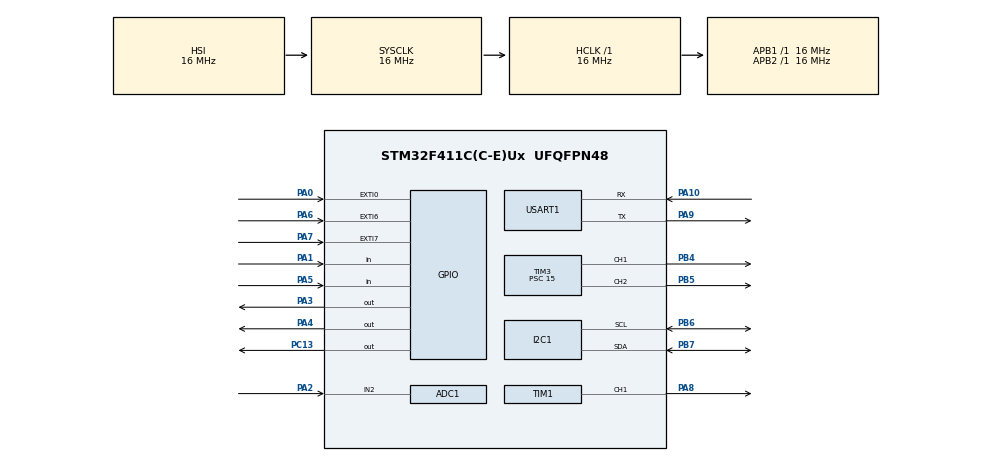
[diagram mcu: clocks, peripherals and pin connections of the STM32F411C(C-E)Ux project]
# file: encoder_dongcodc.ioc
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ADC1.Channel-0\#ChannelRegularConversion=ADC_CHANNEL_2
ADC1.NbrOfConversionFlag=1
ADC1.Rank-0\#ChannelRegularConversion=1
ADC1.SamplingTime-0\#ChannelRegularConversion=ADC_SAMPLETIME_3CYCLES
ADC1.master=1
Mcu.Family=STM32F4
Mcu.Name=STM32F411C(C-E)Ux
Mcu.Package=UFQFPN48
NVIC.EXTI0_IRQn=true\:1\:0\:true\:false\:true\:true\:true\:true
NVIC.EXTI9_5_IRQn=true\:1\:0\:true\:false\:true\:true\:true\:true
NVIC.PriorityGroup=NVIC_PRIORITYGROUP_2
NVIC.TIM2_IRQn=true\:1\:0\:true\:false\:true\:true\:true\:true
NVIC.USART1_IRQn=true\:1\:0\:true\:false\:true\:true\:true\:true
PA0-WKUP.GPIO_ModeDefaultEXTI=GPIO_MODE_IT_RISING
PA0-WKUP.GPIO_PuPd=GPIO_PULLUP
PA0-WKUP.Signal=GPXTI0
PA1.Signal=GPIO_Input
PA10.Mode=Asynchronous
PA10.Signal=USART1_RX
PA13.Mode=Serial_Wire
PA13.Signal=SYS_JTMS-SWDIO
PA14.Mode=Serial_Wire
PA14.Signal=SYS_JTCK-SWCLK
PA2.Signal=ADCx_IN2
PA3.Signal=GPIO_Output
PA4.Signal=GPIO_Output
PA5.GPIO_PuPd=GPIO_NOPULL
PA5.Signal=GPIO_Input
PA6.GPIO_ModeDefaultEXTI=GPIO_MODE_IT_FALLING
PA6.GPIO_PuPd=GPIO_PULLUP
PA6.Signal=GPXTI6
PA7.GPIO_ModeDefaultEXTI=GPIO_MODE_IT_FALLING
PA7.GPIO_PuPd=GPIO_PULLUP
PA7.Signal=GPXTI7
PA8.Signal=S_TIM1_CH1
PA9.Mode=Asynchronous
PA9.Signal=USART1_TX
PB4.Signal=S_TIM3_CH1
PB5.Signal=S_TIM3_CH2
PB6.Mode=I2C
PB6.Signal=I2C1_SCL
PB7.Mode=I2C
PB7.Signal=I2C1_SDA
PC13-ANTI_TAMP.GPIO_ModeDefaultOutputPP=GPIO_MODE_OUTPUT_PP
PC13-ANTI_TAMP.GPIO_PuPd=GPIO_NOPULL
PC13-ANTI_TAMP.PinState=GPIO_PIN_SET
PC13-ANTI_TAMP.Signal=GPIO_Output
PH0\ -\ OSC_IN.Mode=HSE-External-Oscillator
PH0\ -\ OSC_IN.Signal=RCC_OSC_IN
PH1\ -\ OSC_OUT.Mode=HSE-External-Oscillator
PH1\ -\ OSC_OUT.Signal=RCC_OSC_OUT
ProjectManager.HeapSize=0x200
ProjectManager.StackSize=0x400
ProjectManager.TargetToolchain=MDK-ARM V5.32
RCC.AHBFreq_Value=16000000
RCC.APB1Freq_Value=16000000
RCC.APB2Freq_Value=16000000
RCC.CortexFreq_Value=16000000
RCC.HSE_VALUE=25000000
RCC.HSI_VALUE=16000000
RCC.LSE_VALUE=32768
RCC.SYSCLKFreq_VALUE=16000000
RCC.VCOOutputFreq_Value=192000000
SH.ADCx_IN2.0=ADC1_IN2,IN2
SH.S_TIM1_CH1.0=TIM1_CH1,PWM Generation1 CH1
SH.S_TIM3_CH1.0=TIM3_CH1,PWM Generation1 CH1
SH.S_TIM3_CH2.0=TIM3_CH2,PWM Generation2 CH2
TIM1.Channel-PWM\ Generation1\ CH1=TIM_CHANNEL_1
TIM1.Period=999
TIM1.Prescaler=15
TIM2.Period=999999
TIM2.Prescaler=15
TIM3.Channel-PWM\ Generation1\ CH1=TIM_CHANNEL_1
TIM3.Channel-PWM\ Generation2\ CH2=TIM_CHANNEL_2
TIM3.Period=19999
TIM3.Prescaler=15
USART1.VirtualMode=VM_ASYNC
VP_TIM1_VS_ClockSourceINT.Mode=Internal
VP_TIM2_VS_ClockSourceINT.Mode=Internal
board=custom

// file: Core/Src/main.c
/* USER CODE BEGIN Header */
/**
  ******************************************************************************
  * @file           : main.c
  * @brief          : Main program body
  ******************************************************************************
  * @attention
  *
  * Copyright (c) 2025 STMicroelectronics.
  * All rights reserved.
  *
  * This software is licensed under terms that can be found in the LICENSE file
  * in the root directory of this software component.
  * If no LICENSE file comes with this software, it is provided AS-IS.
  *
  ******************************************************************************
  */
/* USER CODE END Header */
#include "main.h"

/* USER CODE BEGIN Includes */
#include "stdio.h"
#include "stdint.h"
#include "CLCD_I2C.h"
/* USER CODE END Includes */

ADC_HandleTypeDef hadc1;

I2C_HandleTypeDef hi2c1;

TIM_HandleTypeDef htim1;
TIM_HandleTypeDef htim2;
TIM_HandleTypeDef htim3;

UART_HandleTypeDef huart1;

/* USER CODE BEGIN PV */
CLCD_I2C_Name LCD1;
/* USER CODE END PV */

void SystemClock_Config(void);
static void MX_GPIO_Init(void);
static void MX_TIM1_Init(void);
static void MX_TIM2_Init(void);
static void MX_ADC1_Init(void);
static void MX_I2C1_Init(void);
static void MX_USART1_UART_Init(void);
static void MX_TIM3_Init(void);

/* USER CODE BEGIN 0 */
///--------------------------------------------BIEN-----------------------------------------------------------------
volatile uint8_t lcd_update_flag = 0;
volatile uint8_t sensor1_flag = 0;

///------------------------------------Ham xoa phan tu dau mang error-----------------------------------------------
char error[100];
uint8_t error_count = 0;
volatile uint8_t noerror_flag = 0;

void shift_error_queue(void)
{
	if (error_count == 0) return;
	for (uint8_t i = 0; i < error_count - 1; i++)
	{
		error[i] = error[i + 1];
	}
	error_count--;
}

/// ----------------------------Tinh toc do dong co (Ngat Timer2 - 1s va EXTI0 de dem xung)-------------------------
volatile int32_t encoderCount = 0;
volatile int32_t preCount = 0;
uint8_t speed = 0;
char buffer[20];
void servo_on_off(uint32_t channel);

void HAL_GPIO_EXTI_Callback(uint16_t GPIO_Pin)
{
	if (GPIO_Pin == GPIO_PIN_0)  // A thay doi
	{
		if (HAL_GPIO_ReadPin(GPIOA, GPIO_PIN_1))  // B = HIGH thuan
			encoderCount++;
		else                                       // B = LOW  nghich
			encoderCount--;
	}
	else if (GPIO_Pin == GPIO_PIN_6)
	{
		if (error_count > 0)
		{
			switch(error[0])
			{
				case '1':
					servo_on_off(TIM_CHANNEL_1);
					shift_error_queue();
					break;
				case '0':
					shift_error_queue();
					noerror_flag = 1;
					break;
			}
		}
	}
	else if (GPIO_Pin == GPIO_PIN_7)
	{
		if (error_count > 0 && noerror_flag == 0)
		{
			if (error[0] == '2')
			{
				servo_on_off(TIM_CHANNEL_2);
				shift_error_queue();
			}
		}
		noerror_flag = 0;
	}
}

void HAL_TIM_PeriodElapsedCallback(TIM_HandleTypeDef *htim)
{
  if (htim->Instance == TIM2)
  {
    speed = (uint8_t)(((float)(encoderCount - preCount) * 60.0f) / 1152.0f);
		sprintf(buffer, "Speed: %3d   ", speed);
		lcd_update_flag = 1;
		preCount = encoderCount;
  }
}

///--------------------------------Set gia tri PWM chan PA8 (TIMER1)-------------------------------------------------
void pwm_set_duty(TIM_HandleTypeDef *htim, uint32_t channel, uint8_t duty)
{
	if (duty > 100) duty = 100;

	uint32_t arr = __HAL_TIM_GET_AUTORELOAD(htim);

	uint32_t ccr = (arr + 1) * duty / 100;

	switch(channel)
	{
		case TIM_CHANNEL_1:
			__HAL_TIM_SET_COMPARE(htim, TIM_CHANNEL_1, ccr);
			break;
		case TIM_CHANNEL_2:
			__HAL_TIM_SET_COMPARE(htim, TIM_CHANNEL_2, ccr);
			break;
		case TIM_CHANNEL_3:
			__HAL_TIM_SET_COMPARE(htim, TIM_CHANNEL_3, ccr);
			break;
		case TIM_CHANNEL_4:
			__HAL_TIM_SET_COMPARE(htim, TIM_CHANNEL_4, ccr);
			break;
		default:
			break;
	}
}

///---------------------------------Doi gia tri adc bien ap sang dutycyle-----------------------------------------
uint16_t adc_value;
uint16_t duty;
uint16_t get_adc_channel(uint32_t channel)
{
	uint16_t adc;
	//config channel
	ADC_ChannelConfTypeDef sConfig = {0};
	sConfig.Channel = channel;
	sConfig.Rank = 1;
	sConfig.SamplingTime = ADC_SAMPLETIME_144CYCLES;
	if (HAL_ADC_ConfigChannel(&hadc1, &sConfig) != HAL_OK)
	{
		Error_Handler();
	}

	//read adc
	HAL_ADC_Start(&hadc1);
	HAL_ADC_PollForConversion(&hadc1, 1000);
	adc = HAL_ADC_GetValue(&hadc1);
	HAL_ADC_Stop(&hadc1);
	return adc;
}

uint32_t map(uint32_t x, uint32_t in_min, uint32_t in_max, uint32_t out_min, uint32_t out_max){
  return (x - in_min) * (out_max - out_min) / (in_max - in_min) + out_min;
}

void set_motor(uint16_t adc_value)
{

	if (adc_value <= 40)
	{
		duty = 0;
	}
	else if (adc_value >= 4070)
	{
		duty = 100;
	}
	else
	{
		duty = map(adc_value, 40, 4070, 0, 100);
	}

	pwm_set_duty(&htim1, TIM_CHANNEL_1, duty);
}
///---------------------------------UART voi Jetson Nano-------------------------------------------------
char data_rx;
void HAL_UART_RxCpltCallback(UART_HandleTypeDef *huart)
{
	if (huart->Instance == USART1)
	{
		if ((data_rx == '0' || data_rx == '1' || data_rx == '2') && error_count < 100)
		{
			error[error_count++] = data_rx;
		}

		HAL_UART_Receive_IT(&huart1, (uint8_t *)&data_rx, 1);
	}
}

///-----------------------------------Servo MG966R--------------------------------------------------------
void Set_Servo_Angle(TIM_HandleTypeDef *htim, uint32_t channel, uint8_t angle)
{
	//Map angle (0-180) to pulse width (500-2500 counts)
	//Vi mot count cua settings cua minh la 1us, 0* tuong ung voi xung 500us,180* tuong ung voi 2500us
	uint32_t pulse_length = map(angle,0,180,500,2500);
	__HAL_TIM_SET_COMPARE(htim, channel, pulse_length);
}

void servo_on_off(uint32_t channel)
{
	Set_Servo_Angle(&htim3,channel,110);
	HAL_Delay(1000);
	Set_Servo_Angle(&htim3,channel,180);
}

/* USER CODE END 0 */

int main(void)
{

  /* MCU Configuration--------------------------------------------------------*/

  /* Reset of all peripherals, Initializes the Flash interface and the Systick. */
  HAL_Init();

  /* Configure the system clock */
  SystemClock_Config();

  /* Initialize all configured peripherals */
  MX_GPIO_Init();
  MX_TIM1_Init();
  MX_TIM2_Init();
  MX_ADC1_Init();
  MX_I2C1_Init();
  MX_USART1_UART_Init();
  MX_TIM3_Init();
  /* USER CODE BEGIN 2 */
	HAL_TIM_Base_Start_IT(&htim2);	// bat dau ngat timer2

	HAL_TIM_PWM_Start(&htim1,TIM_CHANNEL_1); // bat dau su dung pwm
	HAL_TIM_PWM_Start(&htim3,TIM_CHANNEL_1); // servo 50hz kenh 1
	HAL_TIM_PWM_Start(&htim3,TIM_CHANNEL_2); // servo 50hz kenh 2
	Set_Servo_Angle(&htim3,TIM_CHANNEL_1,180);
	Set_Servo_Angle(&htim3,TIM_CHANNEL_2,180);

	CLCD_I2C_Init(&LCD1,&hi2c1,0x4E,20,4); //khai bao i2c_lcd
	HAL_UART_Receive_IT(&huart1,(uint8_t *)&data_rx,1); //bat dau dung UART, nhan du lieu bang ngat

	HAL_GPIO_WritePin (GPIOA,GPIO_PIN_4,(GPIO_PinState) 1);
	HAL_GPIO_WritePin(GPIOA,GPIO_PIN_3,(GPIO_PinState) 0);
  /* USER CODE END 2 */

  /* Infinite loop */
  while (1)
  {

    /* USER CODE BEGIN 3 */
		adc_value  = get_adc_channel(ADC_CHANNEL_2);

		///---------------------------LCD-------------------------------------
		if (lcd_update_flag)
    {
			lcd_update_flag = 0;
			CLCD_I2C_SetCursor(&LCD1, 3, 0);
			CLCD_I2C_WriteString(&LCD1, "PNN-K66AT");
			CLCD_I2C_SetCursor(&LCD1, 0, 1);
			CLCD_I2C_WriteString(&LCD1, buffer);
    }

		///------------------Dung dong co vs cam bien 1 (PA5)-----------------
		if (HAL_GPIO_ReadPin(GPIOA, GPIO_PIN_5) == GPIO_PIN_RESET)
		{
			if (sensor1_flag == 0)
			{
				///Cap nhat lai LCD vi timer2 chua het 1s
				speed = 0;
				sprintf(buffer, "Speed: %3d   ", speed);
				CLCD_I2C_SetCursor(&LCD1, 0, 1);
				CLCD_I2C_WriteString(&LCD1, buffer);

				pwm_set_duty(&htim1, TIM_CHANNEL_1, 0);
				HAL_Delay(3000);
				sensor1_flag = 1;
			}
			else
			{
				set_motor(adc_value);
			}
		}
		else
		{
			sensor1_flag = 0;
		}
		///-------------------------------------------------------------------
		set_motor(adc_value);
  }
  /* USER CODE END 3 */
}

void SystemClock_Config(void)
{
  RCC_OscInitTypeDef RCC_OscInitStruct = {0};
  RCC_ClkInitTypeDef RCC_ClkInitStruct = {0};

  /** Configure the main internal regulator output voltage
  */
  __HAL_RCC_PWR_CLK_ENABLE();
  __HAL_PWR_VOLTAGESCALING_CONFIG(PWR_REGULATOR_VOLTAGE_SCALE1);

  /** Initializes the RCC Oscillators according to the specified parameters
  * in the RCC_OscInitTypeDef structure.
  */
  RCC_OscInitStruct.OscillatorType = RCC_OSCILLATORTYPE_HSI;
  RCC_OscInitStruct.HSIState = RCC_HSI_ON;
  RCC_OscInitStruct.HSICalibrationValue = RCC_HSICALIBRATION_DEFAULT;
  RCC_OscInitStruct.PLL.PLLState = RCC_PLL_NONE;
  if (HAL_RCC_OscConfig(&RCC_OscInitStruct) != HAL_OK)
  {
    Error_Handler();
  }

  /** Initializes the CPU, AHB and APB buses clocks
  */
  RCC_ClkInitStruct.ClockType = RCC_CLOCKTYPE_HCLK|RCC_CLOCKTYPE_SYSCLK
                              |RCC_CLOCKTYPE_PCLK1|RCC_CLOCKTYPE_PCLK2;
  RCC_ClkInitStruct.SYSCLKSource = RCC_SYSCLKSOURCE_HSI;
  RCC_ClkInitStruct.AHBCLKDivider = RCC_SYSCLK_DIV1;
  RCC_ClkInitStruct.APB1CLKDivider = RCC_HCLK_DIV1;
  RCC_ClkInitStruct.APB2CLKDivider = RCC_HCLK_DIV1;

  if (HAL_RCC_ClockConfig(&RCC_ClkInitStruct, FLASH_LATENCY_0) != HAL_OK)
  {
    Error_Handler();
  }
}

static void MX_ADC1_Init(void)
{

  ADC_ChannelConfTypeDef sConfig = {0};

  /** Configure the global features of the ADC (Clock, Resolution, Data Alignment and number of conversion)
  */
  hadc1.Instance = ADC1;
  hadc1.Init.ClockPrescaler = ADC_CLOCK_SYNC_PCLK_DIV2;
  hadc1.Init.Resolution = ADC_RESOLUTION_12B;
  hadc1.Init.ScanConvMode = DISABLE;
  hadc1.Init.ContinuousConvMode = DISABLE;
  hadc1.Init.DiscontinuousConvMode = DISABLE;
  hadc1.Init.ExternalTrigConvEdge = ADC_EXTERNALTRIGCONVEDGE_NONE;
  hadc1.Init.ExternalTrigConv = ADC_SOFTWARE_START;
  hadc1.Init.DataAlign = ADC_DATAALIGN_RIGHT;
  hadc1.Init.NbrOfConversion = 1;
  hadc1.Init.DMAContinuousRequests = DISABLE;
  hadc1.Init.EOCSelection = ADC_EOC_SINGLE_CONV;
  if (HAL_ADC_Init(&hadc1) != HAL_OK)
  {
    Error_Handler();
  }

  /** Configure for the selected ADC regular channel its corresponding rank in the sequencer and its sample time.
  */
  sConfig.Channel = ADC_CHANNEL_2;
  sConfig.Rank = 1;
  sConfig.SamplingTime = ADC_SAMPLETIME_3CYCLES;
  if (HAL_ADC_ConfigChannel(&hadc1, &sConfig) != HAL_OK)
  {
    Error_Handler();
  }

}

static void MX_I2C1_Init(void)
{

  hi2c1.Instance = I2C1;
  hi2c1.Init.ClockSpeed = 100000;
  hi2c1.Init.DutyCycle = I2C_DUTYCYCLE_2;
  hi2c1.Init.OwnAddress1 = 0;
  hi2c1.Init.AddressingMode = I2C_ADDRESSINGMODE_7BIT;
  hi2c1.Init.DualAddressMode = I2C_DUALADDRESS_DISABLE;
  hi2c1.Init.OwnAddress2 = 0;
  hi2c1.Init.GeneralCallMode = I2C_GENERALCALL_DISABLE;
  hi2c1.Init.NoStretchMode = I2C_NOSTRETCH_DISABLE;
  if (HAL_I2C_Init(&hi2c1) != HAL_OK)
  {
    Error_Handler();
  }

}

static void MX_TIM1_Init(void)
{

  TIM_ClockConfigTypeDef sClockSourceConfig = {0};
  TIM_MasterConfigTypeDef sMasterConfig = {0};
  TIM_OC_InitTypeDef sConfigOC = {0};
  TIM_BreakDeadTimeConfigTypeDef sBreakDeadTimeConfig = {0};

  htim1.Instance = TIM1;
  htim1.Init.Prescaler = 15;
  htim1.Init.CounterMode = TIM_COUNTERMODE_UP;
  htim1.Init.Period = 999;
  htim1.Init.ClockDivision = TIM_CLOCKDIVISION_DIV1;
  htim1.Init.RepetitionCounter = 0;
  htim1.Init.AutoReloadPreload = TIM_AUTORELOAD_PRELOAD_DISABLE;
  if (HAL_TIM_Base_Init(&htim1) != HAL_OK)
  {
    Error_Handler();
  }
  sClockSourceConfig.ClockSource = TIM_CLOCKSOURCE_INTERNAL;
  if (HAL_TIM_ConfigClockSource(&htim1, &sClockSourceConfig) != HAL_OK)
  {
    Error_Handler();
  }
  if (HAL_TIM_PWM_Init(&htim1) != HAL_OK)
  {
    Error_Handler();
  }
  sMasterConfig.MasterOutputTrigger = TIM_TRGO_RESET;
  sMasterConfig.MasterSlaveMode = TIM_MASTERSLAVEMODE_DISABLE;
  if (HAL_TIMEx_MasterConfigSynchronization(&htim1, &sMasterConfig) != HAL_OK)
  {
    Error_Handler();
  }
  sConfigOC.OCMode = TIM_OCMODE_PWM1;
  sConfigOC.Pulse = 0;
  sConfigOC.OCPolarity = TIM_OCPOLARITY_HIGH;
  sConfigOC.OCNPolarity = TIM_OCNPOLARITY_HIGH;
  sConfigOC.OCFastMode = TIM_OCFAST_DISABLE;
  sConfigOC.OCIdleState = TIM_OCIDLESTATE_RESET;
  sConfigOC.OCNIdleState = TIM_OCNIDLESTATE_RESET;
  if (HAL_TIM_PWM_ConfigChannel(&htim1, &sConfigOC, TIM_CHANNEL_1) != HAL_OK)
  {
    Error_Handler();
  }
  sBreakDeadTimeConfig.OffStateRunMode = TIM_OSSR_DISABLE;
  sBreakDeadTimeConfig.OffStateIDLEMode = TIM_OSSI_DISABLE;
  sBreakDeadTimeConfig.LockLevel = TIM_LOCKLEVEL_OFF;
  sBreakDeadTimeConfig.DeadTime = 0;
  sBreakDeadTimeConfig.BreakState = TIM_BREAK_DISABLE;
  sBreakDeadTimeConfig.BreakPolarity = TIM_BREAKPOLARITY_HIGH;
  sBreakDeadTimeConfig.AutomaticOutput = TIM_AUTOMATICOUTPUT_DISABLE;
  if (HAL_TIMEx_ConfigBreakDeadTime(&htim1, &sBreakDeadTimeConfig) != HAL_OK)
  {
    Error_Handler();
  }
  HAL_TIM_MspPostInit(&htim1);

}

static void MX_TIM2_Init(void)
{

  TIM_ClockConfigTypeDef sClockSourceConfig = {0};
  TIM_MasterConfigTypeDef sMasterConfig = {0};

  htim2.Instance = TIM2;
  htim2.Init.Prescaler = 15;
  htim2.Init.CounterMode = TIM_COUNTERMODE_UP;
  htim2.Init.Period = 999999;
  htim2.Init.ClockDivision = TIM_CLOCKDIVISION_DIV1;
  htim2.Init.AutoReloadPreload = TIM_AUTORELOAD_PRELOAD_DISABLE;
  if (HAL_TIM_Base_Init(&htim2) != HAL_OK)
  {
    Error_Handler();
  }
  sClockSourceConfig.ClockSource = TIM_CLOCKSOURCE_INTERNAL;
  if (HAL_TIM_ConfigClockSource(&htim2, &sClockSourceConfig) != HAL_OK)
  {
    Error_Handler();
  }
  sMasterConfig.MasterOutputTrigger = TIM_TRGO_RESET;
  sMasterConfig.MasterSlaveMode = TIM_MASTERSLAVEMODE_DISABLE;
  if (HAL_TIMEx_MasterConfigSynchronization(&htim2, &sMasterConfig) != HAL_OK)
  {
    Error_Handler();
  }

}

static void MX_TIM3_Init(void)
{

  TIM_MasterConfigTypeDef sMasterConfig = {0};
  TIM_OC_InitTypeDef sConfigOC = {0};

  htim3.Instance = TIM3;
  htim3.Init.Prescaler = 15;
  htim3.Init.CounterMode = TIM_COUNTERMODE_UP;
  htim3.Init.Period = 19999;
  htim3.Init.ClockDivision = TIM_CLOCKDIVISION_DIV1;
  htim3.Init.AutoReloadPreload = TIM_AUTORELOAD_PRELOAD_DISABLE;
  if (HAL_TIM_PWM_Init(&htim3) != HAL_OK)
  {
    Error_Handler();
  }
  sMasterConfig.MasterOutputTrigger = TIM_TRGO_RESET;
  sMasterConfig.MasterSlaveMode = TIM_MASTERSLAVEMODE_DISABLE;
  if (HAL_TIMEx_MasterConfigSynchronization(&htim3, &sMasterConfig) != HAL_OK)
  {
    Error_Handler();
  }
  sConfigOC.OCMode = TIM_OCMODE_PWM1;
  sConfigOC.Pulse = 0;
  sConfigOC.OCPolarity = TIM_OCPOLARITY_HIGH;
  sConfigOC.OCFastMode = TIM_OCFAST_DISABLE;
  if (HAL_TIM_PWM_ConfigChannel(&htim3, &sConfigOC, TIM_CHANNEL_1) != HAL_OK)
  {
    Error_Handler();
  }
  if (HAL_TIM_PWM_ConfigChannel(&htim3, &sConfigOC, TIM_CHANNEL_2) != HAL_OK)
  {
    Error_Handler();
  }
  HAL_TIM_MspPostInit(&htim3);

}

static void MX_USART1_UART_Init(void)
{

  huart1.Instance = USART1;
  huart1.Init.BaudRate = 115200;
  huart1.Init.WordLength = UART_WORDLENGTH_8B;
  huart1.Init.StopBits = UART_STOPBITS_1;
  huart1.Init.Parity = UART_PARITY_NONE;
  huart1.Init.Mode = UART_MODE_TX_RX;
  huart1.Init.HwFlowCtl = UART_HWCONTROL_NONE;
  huart1.Init.OverSampling = UART_OVERSAMPLING_16;
  if (HAL_UART_Init(&huart1) != HAL_OK)
  {
    Error_Handler();
  }

}

static void MX_GPIO_Init(void)
{
  GPIO_InitTypeDef GPIO_InitStruct = {0};

  /* GPIO Ports Clock Enable */
  __HAL_RCC_GPIOC_CLK_ENABLE();
  __HAL_RCC_GPIOH_CLK_ENABLE();
  __HAL_RCC_GPIOA_CLK_ENABLE();
  __HAL_RCC_GPIOB_CLK_ENABLE();

  /*Configure GPIO pin Output Level */
  HAL_GPIO_WritePin(GPIOC, GPIO_PIN_13, GPIO_PIN_SET);

  /*Configure GPIO pin Output Level */
  HAL_GPIO_WritePin(GPIOA, GPIO_PIN_3|GPIO_PIN_4, GPIO_PIN_RESET);

  /*Configure GPIO pin : PC13 */
  GPIO_InitStruct.Pin = GPIO_PIN_13;
  GPIO_InitStruct.Mode = GPIO_MODE_OUTPUT_PP;
  GPIO_InitStruct.Pull = GPIO_NOPULL;
  GPIO_InitStruct.Speed = GPIO_SPEED_FREQ_LOW;
  HAL_GPIO_Init(GPIOC, &GPIO_InitStruct);

  /*Configure GPIO pin : PA0 */
  GPIO_InitStruct.Pin = GPIO_PIN_0;
  GPIO_InitStruct.Mode = GPIO_MODE_IT_RISING;
  GPIO_InitStruct.Pull = GPIO_PULLUP;
  HAL_GPIO_Init(GPIOA, &GPIO_InitStruct);

  /*Configure GPIO pins : PA1 PA5 */
  GPIO_InitStruct.Pin = GPIO_PIN_1|GPIO_PIN_5;
  GPIO_InitStruct.Mode = GPIO_MODE_INPUT;
  GPIO_InitStruct.Pull = GPIO_NOPULL;
  HAL_GPIO_Init(GPIOA, &GPIO_InitStruct);

  /*Configure GPIO pins : PA3 PA4 */
  GPIO_InitStruct.Pin = GPIO_PIN_3|GPIO_PIN_4;
  GPIO_InitStruct.Mode = GPIO_MODE_OUTPUT_PP;
  GPIO_InitStruct.Pull = GPIO_NOPULL;
  GPIO_InitStruct.Speed = GPIO_SPEED_FREQ_LOW;
  HAL_GPIO_Init(GPIOA, &GPIO_InitStruct);

  /*Configure GPIO pins : PA6 PA7 */
  GPIO_InitStruct.Pin = GPIO_PIN_6|GPIO_PIN_7;
  GPIO_InitStruct.Mode = GPIO_MODE_IT_FALLING;
  GPIO_InitStruct.Pull = GPIO_PULLUP;
  HAL_GPIO_Init(GPIOA, &GPIO_InitStruct);

  /* EXTI interrupt init*/
  HAL_NVIC_SetPriority(EXTI0_IRQn, 1, 0);
  HAL_NVIC_EnableIRQ(EXTI0_IRQn);

  HAL_NVIC_SetPriority(EXTI9_5_IRQn, 1, 0);
  HAL_NVIC_EnableIRQ(EXTI9_5_IRQn);

}

void Error_Handler(void)
{
  __disable_irq();
  while (1)
  {
  }
}
